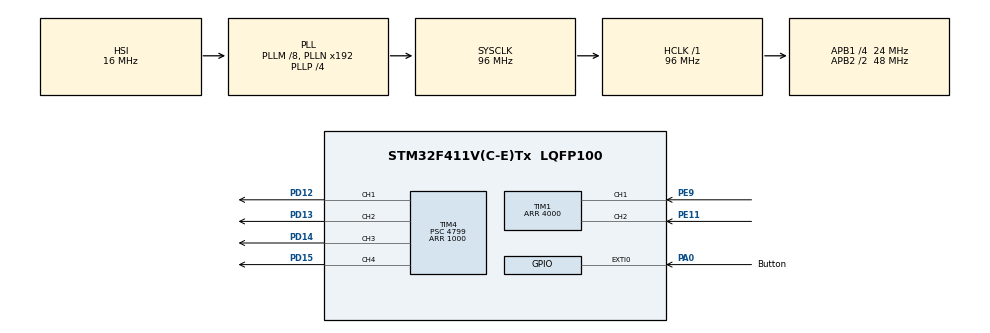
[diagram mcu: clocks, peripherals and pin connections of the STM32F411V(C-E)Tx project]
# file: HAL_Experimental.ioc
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Mcu.Family=STM32F4
Mcu.Name=STM32F411V(C-E)Tx
Mcu.Package=LQFP100
NVIC.EXTI0_IRQn=true\:0\:0\:false\:false\:true\:true\:true\:true
NVIC.PriorityGroup=NVIC_PRIORITYGROUP_0
PA0-WKUP.GPIO_Label=Button
PA0-WKUP.GPIO_PuPd=GPIO_PULLDOWN
PA0-WKUP.Signal=GPXTI0
PA13.Mode=Serial_Wire
PA13.Signal=SYS_JTMS-SWDIO
PA14.Mode=Serial_Wire
PA14.Signal=SYS_JTCK-SWCLK
PD12.Signal=S_TIM4_CH1
PD13.Signal=S_TIM4_CH2
PD14.Signal=S_TIM4_CH3
PD15.Signal=S_TIM4_CH4
PE11.Signal=S_TIM1_CH2
PE9.Signal=S_TIM1_CH1
ProjectManager.HeapSize=0x200
ProjectManager.StackSize=0x400
ProjectManager.TargetToolchain=STM32CubeIDE
RCC.48MHZClocksFreq_Value=48000000
RCC.AHBFreq_Value=96000000
RCC.APB1CLKDivider=RCC_HCLK_DIV4
RCC.APB1Freq_Value=24000000
RCC.APB1TimFreq_Value=48000000
RCC.APB2CLKDivider=RCC_HCLK_DIV2
RCC.APB2Freq_Value=48000000
RCC.APB2TimFreq_Value=96000000
RCC.CortexFreq_Value=96000000
RCC.HCLKFreq_Value=96000000
RCC.HSE_VALUE=8000000
RCC.HSI_VALUE=16000000
RCC.LSE_VALUE=32768
RCC.PLLI2SM=5
RCC.PLLI2SN=200
RCC.PLLM=8
RCC.PLLP=RCC_PLLP_DIV4
RCC.PLLQ=8
RCC.SYSCLKFreq_VALUE=96000000
RCC.SYSCLKSource=RCC_SYSCLKSOURCE_PLLCLK
RCC.VCOOutputFreq_Value=384000000
SH.S_TIM1_CH1.0=TIM1_CH1,Encoder_Interface
SH.S_TIM1_CH2.0=TIM1_CH2,Encoder_Interface
SH.S_TIM4_CH1.0=TIM4_CH1,PWM Generation1 CH1
SH.S_TIM4_CH2.0=TIM4_CH2,PWM Generation2 CH2
SH.S_TIM4_CH3.0=TIM4_CH3,PWM Generation3 CH3
SH.S_TIM4_CH4.0=TIM4_CH4,PWM Generation4 CH4
TIM1.AutoReloadPreload=TIM_AUTORELOAD_PRELOAD_ENABLE
TIM1.EncoderMode=TIM_ENCODERMODE_TI12
TIM1.Period=4000
TIM4.AutoReloadPreload=TIM_AUTORELOAD_PRELOAD_ENABLE
TIM4.Channel-PWM\ Generation1\ CH1=TIM_CHANNEL_1
TIM4.Channel-PWM\ Generation2\ CH2=TIM_CHANNEL_2
TIM4.Channel-PWM\ Generation3\ CH3=TIM_CHANNEL_3
TIM4.Channel-PWM\ Generation4\ CH4=TIM_CHANNEL_4
TIM4.Period=1000
TIM4.Prescaler=4799
VP_TIM4_VS_ClockSourceINT.Mode=Internal
board=STM32F411E-DISCO

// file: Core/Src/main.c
/* USER CODE BEGIN Header */
/**
  ******************************************************************************
  * @file           : main.c
  * @brief          : Main program body
  ******************************************************************************
  * @attention
  *
  * Copyright (c) 2022 STMicroelectronics.
  * All rights reserved.
  *
  * This software is licensed under terms that can be found in the LICENSE file
  * in the root directory of this software component.
  * If no LICENSE file comes with this software, it is provided AS-IS.
  *
  ******************************************************************************
  */
/* USER CODE END Header */
#include "main.h"

 TIM_HandleTypeDef htim1;
TIM_HandleTypeDef htim4;

/* USER CODE BEGIN PV */
volatile int8_t turn=1;

volatile uint16_t pulse_count=1; // Licznik impulsow
volatile uint16_t positions=1; // Licznik przekreconych pozycji
uint16_t speeder=1;
/* USER CODE END PV */

void SystemClock_Config(void);
static void MX_GPIO_Init(void);
static void MX_TIM4_Init(void);
static void MX_TIM1_Init(void);
/* USER CODE BEGIN PFP */
void HAL_GPIO_EXTI_Callback(uint16_t GPIO_Pin);

void spin(int8_t turn,uint16_t speed,uint16_t brightness);
/* USER CODE END PFP */

int main(void)
{

  /* MCU Configuration--------------------------------------------------------*/

  /* Reset of all peripherals, Initializes the Flash interface and the Systick. */
  HAL_Init();

  /* Configure the system clock */
  SystemClock_Config();

  /* Initialize all configured peripherals */
  MX_GPIO_Init();
  MX_TIM4_Init();
  MX_TIM1_Init();
  /* USER CODE BEGIN 2 */
 HAL_TIM_PWM_Start(&htim4, TIM_CHANNEL_1);
 HAL_TIM_PWM_Start(&htim4, TIM_CHANNEL_2);
 HAL_TIM_PWM_Start(&htim4, TIM_CHANNEL_3);
 HAL_TIM_PWM_Start(&htim4, TIM_CHANNEL_4);

 HAL_TIM_Encoder_Start(&htim1,TIM_CHANNEL_1 );
 HAL_TIM_Encoder_Start(&htim1,TIM_CHANNEL_2 );
  /* USER CODE END 2 */

  /* Infinite loop */
  while (1)
  {

    /* USER CODE BEGIN 3 */
	  pulse_count =  TIM1->CNT ; // przepisanie wartosci z rejestru timera
	  speeder = (pulse_count/4); // zeskalowanie impulsow do liczby stabilnych pozycji walu enkodera
	  if(speeder<=0) speeder=1;
	  spin(turn,speeder,999);

  }
  /* USER CODE END 3 */
}

void SystemClock_Config(void)
{
  RCC_OscInitTypeDef RCC_OscInitStruct = {0};
  RCC_ClkInitTypeDef RCC_ClkInitStruct = {0};

  /** Configure the main internal regulator output voltage
  */
  __HAL_RCC_PWR_CLK_ENABLE();
  __HAL_PWR_VOLTAGESCALING_CONFIG(PWR_REGULATOR_VOLTAGE_SCALE1);

  /** Initializes the RCC Oscillators according to the specified parameters
  * in the RCC_OscInitTypeDef structure.
  */
  RCC_OscInitStruct.OscillatorType = RCC_OSCILLATORTYPE_HSI;
  RCC_OscInitStruct.HSIState = RCC_HSI_ON;
  RCC_OscInitStruct.HSICalibrationValue = RCC_HSICALIBRATION_DEFAULT;
  RCC_OscInitStruct.PLL.PLLState = RCC_PLL_ON;
  RCC_OscInitStruct.PLL.PLLSource = RCC_PLLSOURCE_HSI;
  RCC_OscInitStruct.PLL.PLLM = 8;
  RCC_OscInitStruct.PLL.PLLN = 192;
  RCC_OscInitStruct.PLL.PLLP = RCC_PLLP_DIV4;
  RCC_OscInitStruct.PLL.PLLQ = 8;
  if (HAL_RCC_OscConfig(&RCC_OscInitStruct) != HAL_OK)
  {
    Error_Handler();
  }

  /** Initializes the CPU, AHB and APB buses clocks
  */
  RCC_ClkInitStruct.ClockType = RCC_CLOCKTYPE_HCLK|RCC_CLOCKTYPE_SYSCLK
                              |RCC_CLOCKTYPE_PCLK1|RCC_CLOCKTYPE_PCLK2;
  RCC_ClkInitStruct.SYSCLKSource = RCC_SYSCLKSOURCE_PLLCLK;
  RCC_ClkInitStruct.AHBCLKDivider = RCC_SYSCLK_DIV1;
  RCC_ClkInitStruct.APB1CLKDivider = RCC_HCLK_DIV4;
  RCC_ClkInitStruct.APB2CLKDivider = RCC_HCLK_DIV2;

  if (HAL_RCC_ClockConfig(&RCC_ClkInitStruct, FLASH_LATENCY_3) != HAL_OK)
  {
    Error_Handler();
  }
}

static void MX_TIM1_Init(void)
{

  TIM_Encoder_InitTypeDef sConfig = {0};
  TIM_MasterConfigTypeDef sMasterConfig = {0};

  htim1.Instance = TIM1;
  htim1.Init.Prescaler = 0;
  htim1.Init.CounterMode = TIM_COUNTERMODE_UP;
  htim1.Init.Period = 4000;
  htim1.Init.ClockDivision = TIM_CLOCKDIVISION_DIV1;
  htim1.Init.RepetitionCounter = 0;
  htim1.Init.AutoReloadPreload = TIM_AUTORELOAD_PRELOAD_ENABLE;
  sConfig.EncoderMode = TIM_ENCODERMODE_TI12;
  sConfig.IC1Polarity = TIM_ICPOLARITY_RISING;
  sConfig.IC1Selection = TIM_ICSELECTION_DIRECTTI;
  sConfig.IC1Prescaler = TIM_ICPSC_DIV1;
  sConfig.IC1Filter = 0;
  sConfig.IC2Polarity = TIM_ICPOLARITY_RISING;
  sConfig.IC2Selection = TIM_ICSELECTION_DIRECTTI;
  sConfig.IC2Prescaler = TIM_ICPSC_DIV1;
  sConfig.IC2Filter = 0;
  if (HAL_TIM_Encoder_Init(&htim1, &sConfig) != HAL_OK)
  {
    Error_Handler();
  }
  sMasterConfig.MasterOutputTrigger = TIM_TRGO_RESET;
  sMasterConfig.MasterSlaveMode = TIM_MASTERSLAVEMODE_DISABLE;
  if (HAL_TIMEx_MasterConfigSynchronization(&htim1, &sMasterConfig) != HAL_OK)
  {
    Error_Handler();
  }

}

static void MX_TIM4_Init(void)
{

  TIM_ClockConfigTypeDef sClockSourceConfig = {0};
  TIM_MasterConfigTypeDef sMasterConfig = {0};
  TIM_OC_InitTypeDef sConfigOC = {0};

  htim4.Instance = TIM4;
  htim4.Init.Prescaler = 48;
  htim4.Init.CounterMode = TIM_COUNTERMODE_UP;
  htim4.Init.Period = 1000;
  htim4.Init.ClockDivision = TIM_CLOCKDIVISION_DIV1;
  htim4.Init.AutoReloadPreload = TIM_AUTORELOAD_PRELOAD_ENABLE;
  if (HAL_TIM_Base_Init(&htim4) != HAL_OK)
  {
    Error_Handler();
  }
  sClockSourceConfig.ClockSource = TIM_CLOCKSOURCE_INTERNAL;
  if (HAL_TIM_ConfigClockSource(&htim4, &sClockSourceConfig) != HAL_OK)
  {
    Error_Handler();
  }
  if (HAL_TIM_PWM_Init(&htim4) != HAL_OK)
  {
    Error_Handler();
  }
  sMasterConfig.MasterOutputTrigger = TIM_TRGO_RESET;
  sMasterConfig.MasterSlaveMode = TIM_MASTERSLAVEMODE_DISABLE;
  if (HAL_TIMEx_MasterConfigSynchronization(&htim4, &sMasterConfig) != HAL_OK)
  {
    Error_Handler();
  }
  sConfigOC.OCMode = TIM_OCMODE_PWM1;
  sConfigOC.Pulse = 0;
  sConfigOC.OCPolarity = TIM_OCPOLARITY_HIGH;
  sConfigOC.OCFastMode = TIM_OCFAST_ENABLE;
  if (HAL_TIM_PWM_ConfigChannel(&htim4, &sConfigOC, TIM_CHANNEL_1) != HAL_OK)
  {
    Error_Handler();
  }
  if (HAL_TIM_PWM_ConfigChannel(&htim4, &sConfigOC, TIM_CHANNEL_2) != HAL_OK)
  {
    Error_Handler();
  }
  if (HAL_TIM_PWM_ConfigChannel(&htim4, &sConfigOC, TIM_CHANNEL_3) != HAL_OK)
  {
    Error_Handler();
  }
  if (HAL_TIM_PWM_ConfigChannel(&htim4, &sConfigOC, TIM_CHANNEL_4) != HAL_OK)
  {
    Error_Handler();
  }
  HAL_TIM_MspPostInit(&htim4);

}

static void MX_GPIO_Init(void)
{
  GPIO_InitTypeDef GPIO_InitStruct = {0};

  /* GPIO Ports Clock Enable */
  __HAL_RCC_GPIOA_CLK_ENABLE();
  __HAL_RCC_GPIOE_CLK_ENABLE();
  __HAL_RCC_GPIOD_CLK_ENABLE();

  /*Configure GPIO pin : Button_Pin */
  GPIO_InitStruct.Pin = Button_Pin;
  GPIO_InitStruct.Mode = GPIO_MODE_IT_RISING;
  GPIO_InitStruct.Pull = GPIO_NOPULL;
  HAL_GPIO_Init(Button_GPIO_Port, &GPIO_InitStruct);

  /* EXTI interrupt init*/
  HAL_NVIC_SetPriority(EXTI0_IRQn, 0, 0);
  HAL_NVIC_EnableIRQ(EXTI0_IRQn);

}

/* USER CODE BEGIN 4 */
void HAL_GPIO_EXTI_Callback(uint16_t GPIO_Pin)
{
  /* Prevent unused argument(s) compilation warning */
  UNUSED(GPIO_Pin);
  turn=turn*(-1);

 // __HAL_TIM_SET_COMPARE(&htim4,TIM_CHANNEL_1,500);
  /* NOTE: This function Should not be modified, when the callback is needed,
           the HAL_GPIO_EXTI_Callback could be implemented in the user file
   */
}

void spin(int8_t turn,uint16_t speed,uint16_t brightness)
{

	if(turn==1)

	{
			for(uint8_t i =0; i < 4; i++)
			{
				if(i==0){ for(uint16_t j=40; j<brightness; j+=speed){ __HAL_TIM_SET_COMPARE(&htim4,TIM_CHANNEL_1,j);HAL_Delay(1);}__HAL_TIM_SET_COMPARE(&htim4,TIM_CHANNEL_1,0);}
				if(i==1){ for(uint16_t j=40; j<brightness; j+=speed){ __HAL_TIM_SET_COMPARE(&htim4,TIM_CHANNEL_2,j);HAL_Delay(1);}__HAL_TIM_SET_COMPARE(&htim4,TIM_CHANNEL_2,0);}
				if(i==2){ for(uint16_t j=40; j<brightness; j+=speed){ __HAL_TIM_SET_COMPARE(&htim4,TIM_CHANNEL_3,j);HAL_Delay(1);}__HAL_TIM_SET_COMPARE(&htim4,TIM_CHANNEL_3,0);}
				if(i==3){ for(uint16_t j=40; j<brightness; j+=speed){ __HAL_TIM_SET_COMPARE(&htim4,TIM_CHANNEL_4,j);HAL_Delay(1);}__HAL_TIM_SET_COMPARE(&htim4,TIM_CHANNEL_4,0);}
		    }

    }

	if(turn == -1)
	{
		for(uint8_t i =0; i < 4; i++)
		{
			if(i==3){ for(uint16_t j=40; j<brightness; j+=speed){ __HAL_TIM_SET_COMPARE(&htim4,TIM_CHANNEL_1,j);HAL_Delay(1);}__HAL_TIM_SET_COMPARE(&htim4,TIM_CHANNEL_1,0);}
			if(i==2){ for(uint16_t j=40; j<brightness; j+=speed){ __HAL_TIM_SET_COMPARE(&htim4,TIM_CHANNEL_2,j);HAL_Delay(1);}__HAL_TIM_SET_COMPARE(&htim4,TIM_CHANNEL_2,0);}
			if(i==1){ for(uint16_t j=40; j<brightness; j+=speed){ __HAL_TIM_SET_COMPARE(&htim4,TIM_CHANNEL_3,j);HAL_Delay(1);}__HAL_TIM_SET_COMPARE(&htim4,TIM_CHANNEL_3,0);}
			if(i==0){ for(uint16_t j=40; j<brightness; j+=speed){ __HAL_TIM_SET_COMPARE(&htim4,TIM_CHANNEL_4,j);HAL_Delay(1);}__HAL_TIM_SET_COMPARE(&htim4,TIM_CHANNEL_4,0);}
	    }

	}

}

//for(uint8_t i =0; i < 4; i++)
//{
//  for(uint16_t j=0; j<brightness; j+=2)
//  {
//	  positions =j; // zeskalowanie impulsow do liczby stabilnych pozycji walu enkodera
//	  switch(i)
//	  {
//		case 0:__HAL_TIM_SET_COMPARE(&htim4,TIM_CHANNEL_1,positions);break;
//		case 1:__HAL_TIM_SET_COMPARE(&htim4,TIM_CHANNEL_2,positions );break;
//		case 2:__HAL_TIM_SET_COMPARE(&htim4,TIM_CHANNEL_3,positions );break;
//		case 3:__HAL_TIM_SET_COMPARE(&htim4,TIM_CHANNEL_4,positions );break;
//	  }
////		  HAL_Delay(1);
//  }
//
//}

/* USER CODE END 4 */

void Error_Handler(void)
{
  __disable_irq();
  while (1)
  {
  }
}
